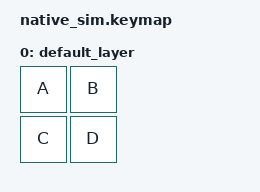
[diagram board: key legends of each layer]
#include <dt-bindings/zmk/keys.h>
#include <dt-bindings/zmk/kscan_mock.h>
#include <behaviors.dtsi>

/ {
    keymap {
        compatible = "zmk,keymap";
        default_layer {
            bindings = <
                &kp A &kp B
                &kp C &kp D
            >;
        };
    };
};

&kscan {
    events = <
        ZMK_MOCK_PRESS(0,0,30)
        ZMK_MOCK_RELEASE(0,0,30)
        ZMK_MOCK_PRESS(0,1,30)
        ZMK_MOCK_RELEASE(0,1,30)
    >;
};
